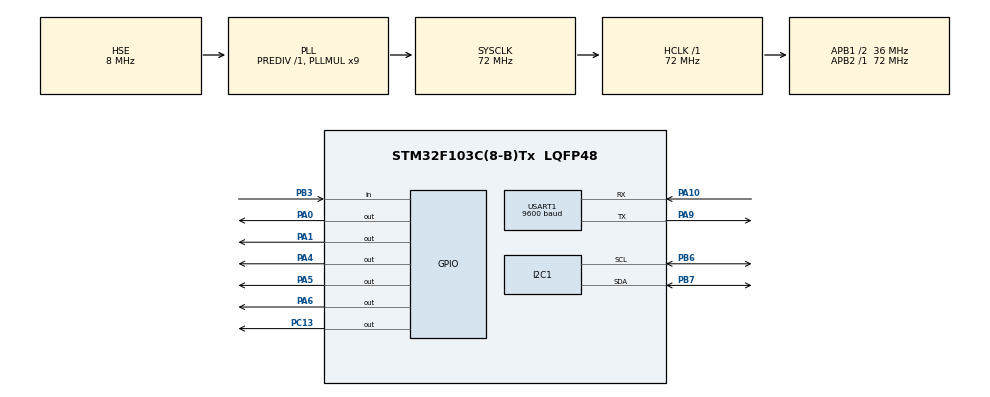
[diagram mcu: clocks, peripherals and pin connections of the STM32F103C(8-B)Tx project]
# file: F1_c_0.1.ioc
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Mcu.Family=STM32F1
Mcu.Name=STM32F103C(8-B)Tx
Mcu.Package=LQFP48
NVIC.PriorityGroup=NVIC_PRIORITYGROUP_4
PA0-WKUP.GPIO_Speed=GPIO_SPEED_FREQ_HIGH
PA0-WKUP.Signal=GPIO_Output
PA1.GPIO_Speed=GPIO_SPEED_FREQ_HIGH
PA1.Signal=GPIO_Output
PA10.Mode=Asynchronous
PA10.Signal=USART1_RX
PA13.Mode=Serial_Wire
PA13.Signal=SYS_JTMS-SWDIO
PA14.Mode=Serial_Wire
PA14.Signal=SYS_JTCK-SWCLK
PA4.GPIO_Speed=GPIO_SPEED_FREQ_HIGH
PA4.Signal=GPIO_Output
PA5.GPIO_Speed=GPIO_SPEED_FREQ_HIGH
PA5.Signal=GPIO_Output
PA6.GPIO_Speed=GPIO_SPEED_FREQ_HIGH
PA6.Signal=GPIO_Output
PA9.Mode=Asynchronous
PA9.Signal=USART1_TX
PB3.GPIO_PuPd=GPIO_PULLUP
PB3.Signal=GPIO_Input
PB6.GPIO_Pu=GPIO_PULLUP
PB6.Mode=I2C
PB6.Signal=I2C1_SCL
PB7.GPIO_Pu=GPIO_PULLUP
PB7.Mode=I2C
PB7.Signal=I2C1_SDA
PC13-TAMPER-RTC.Signal=GPIO_Output
PD0-OSC_IN.Mode=HSE-External-Oscillator
PD0-OSC_IN.Signal=RCC_OSC_IN
PD1-OSC_OUT.Mode=HSE-External-Oscillator
PD1-OSC_OUT.Signal=RCC_OSC_OUT
ProjectManager.HeapSize=0x200
ProjectManager.StackSize=0x400
ProjectManager.TargetToolchain=MDK-ARM V5.27
RCC.AHBFreq_Value=72000000
RCC.APB1CLKDivider=RCC_HCLK_DIV2
RCC.APB1Freq_Value=36000000
RCC.APB1TimFreq_Value=72000000
RCC.APB2Freq_Value=72000000
RCC.APB2TimFreq_Value=72000000
RCC.HCLKFreq_Value=72000000
RCC.PLLMUL=RCC_PLL_MUL9
RCC.PLLSourceVirtual=RCC_PLLSOURCE_HSE
RCC.SYSCLKFreq_VALUE=72000000
RCC.SYSCLKSource=RCC_SYSCLKSOURCE_PLLCLK
RCC.USBFreq_Value=72000000
USART1.BaudRate=9600
USART1.VirtualMode=VM_ASYNC
board=custom

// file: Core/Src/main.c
/* USER CODE BEGIN Header */
/**
 ******************************************************************************
 * @file           : main.c
 * @brief          : Main program body
 ******************************************************************************
 * @attention
 *
 * <h2><center>&copy; Copyright (c) 2023 STMicroelectronics.
 * All rights reserved.</center></h2>
 *
 * This software component is licensed by ST under BSD 3-Clause license,
 * the "License"; You may not use this file except in compliance with the
 * License. You may obtain a copy of the License at:
 *                        opensource.org/licenses/BSD-3-Clause
 *
 ******************************************************************************
 */
/* USER CODE END Header */
#include "main.h"
#include "i2c.h"
#include "usart.h"
#include "gpio.h"

/* USER CODE BEGIN Includes */
#include "stdio.h"
#include "bmp280.h"
#include "oled.h"
#include "bmp.h"
/* USER CODE END Includes */

void SystemClock_Config(void);

int main(void)
{
    /* USER CODE BEGIN 1 */

    /*
    OLED接线： 				A0//SCL
                                        A1//SDA
                                        A5//RES
                                        A6//DC
                                        A4//CS

    BMP280接线：				B7//SDA
                                        B6//SCL

    串口接线：					A10//RX
                                        A9//TX

    测高功能按键：     B3//B3连（1K-10K电阻）连 按键 连 GND

    */

    /* USER CODE END 1 */

    /* MCU Configuration--------------------------------------------------------*/

    /* Reset of all peripherals, Initializes the Flash interface and the Systick. */
    HAL_Init();

    /* Configure the system clock */
    SystemClock_Config();

    /* Initialize all configured peripherals */
    MX_GPIO_Init();
    MX_USART1_UART_Init();
    MX_I2C1_Init();

    /* Infinite loop */
    /* USER CODE BEGIN WHILE */

    Bmp280Init();
    OLED_Init();
    OLED_ColorTurn(0);   // 0正常显示，1 反色显示
    OLED_DisplayTurn(0); // 0正常显示 1 屏幕翻转显示
    uint8_t st[255] = {0};
    extern double basepress;

    while (1)
    {

        printf("ok:%d\r\n", bmp280_GetValue());
        printf("temp:%lf\r\n", bmp280_GetTEMPERATURE());
        printf("air_p:%lf\r\n", bmp280_Get_P());
        printf("highth:%f\r\n", bmp280_GetAltitude());

        sprintf((char *)st, "T:%.3lf", bmp280_GetTEMPERATURE());
        OLED_ShowString(10, 0, st, 16, 1);
        sprintf((char *)st, "P:%.3lf", bmp280_Get_P());
        OLED_ShowString(10, 16, st, 16, 1);
        sprintf((char *)st, "H:%.3lf", bmp280_GetAltitude());
        OLED_ShowString(10, 32, st, 16, 1);

        // 按动按键设置该位置气压为基准值，可以测量高度。
        if (HAL_GPIO_ReadPin(GPIOB, GPIO_PIN_3) == GPIO_PIN_RESET)
            basepress = bmp280_Get_P();

        sprintf((char *)st, "baseP:%.3lf", basepress);
        OLED_ShowString(10, 48, st, 16, 1);
        OLED_Refresh(); // OLED刷新

        HAL_GPIO_TogglePin(GPIOC, GPIO_PIN_13);
        HAL_Delay(1000);

        /* USER CODE END WHILE */

    }
}

void SystemClock_Config(void)
{
    RCC_OscInitTypeDef RCC_OscInitStruct = {0};
    RCC_ClkInitTypeDef RCC_ClkInitStruct = {0};

    /** Initializes the RCC Oscillators according to the specified parameters
     * in the RCC_OscInitTypeDef structure.
     */
    RCC_OscInitStruct.OscillatorType = RCC_OSCILLATORTYPE_HSE;
    RCC_OscInitStruct.HSEState = RCC_HSE_ON;
    RCC_OscInitStruct.HSEPredivValue = RCC_HSE_PREDIV_DIV1;
    RCC_OscInitStruct.HSIState = RCC_HSI_ON;
    RCC_OscInitStruct.PLL.PLLState = RCC_PLL_ON;
    RCC_OscInitStruct.PLL.PLLSource = RCC_PLLSOURCE_HSE;
    RCC_OscInitStruct.PLL.PLLMUL = RCC_PLL_MUL9;
    if (HAL_RCC_OscConfig(&RCC_OscInitStruct) != HAL_OK)
    {
        Error_Handler();
    }

    /** Initializes the CPU, AHB and APB buses clocks
     */
    RCC_ClkInitStruct.ClockType = RCC_CLOCKTYPE_HCLK | RCC_CLOCKTYPE_SYSCLK | RCC_CLOCKTYPE_PCLK1 | RCC_CLOCKTYPE_PCLK2;
    RCC_ClkInitStruct.SYSCLKSource = RCC_SYSCLKSOURCE_PLLCLK;
    RCC_ClkInitStruct.AHBCLKDivider = RCC_SYSCLK_DIV1;
    RCC_ClkInitStruct.APB1CLKDivider = RCC_HCLK_DIV2;
    RCC_ClkInitStruct.APB2CLKDivider = RCC_HCLK_DIV1;

    if (HAL_RCC_ClockConfig(&RCC_ClkInitStruct, FLASH_LATENCY_2) != HAL_OK)
    {
        Error_Handler();
    }
}

/* USER CODE BEGIN 4 */
int fputc(int c, FILE *stream)
{

    HAL_UART_Transmit(&huart1, (uint8_t *)&c, 1, 3);

    return c;
}
/* USER CODE END 4 */

void Error_Handler(void)
{
}
